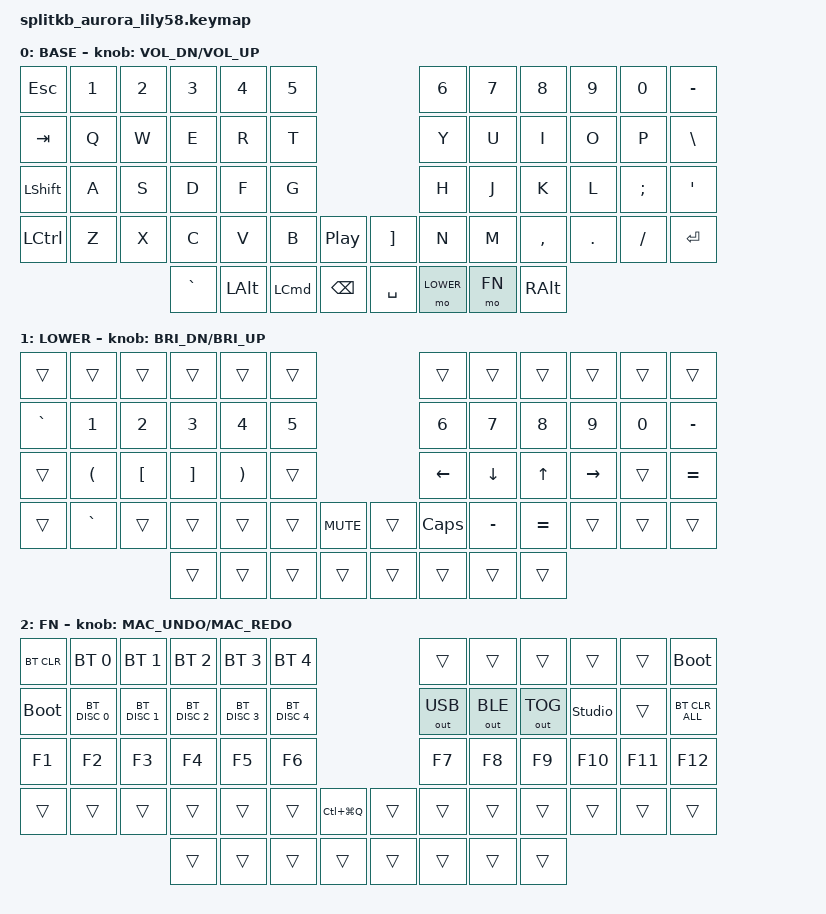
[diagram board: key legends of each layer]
/*
 * besimboard — splitkb Aurora Lily58, ZMK.
 * Layout follows zmk-config-lily58-pro, with vim arrows and the encoder added.
 *
 * SPDX-License-Identifier: MIT
 */

#include <behaviors.dtsi>
#include <dt-bindings/zmk/keys.h>
#include <dt-bindings/zmk/bt.h>
#include <dt-bindings/zmk/outputs.h>

#define BASE  0
#define LOWER 1
#define FN    2

/* macOS shortcuts */
#define MAC_LOCK LC(LG(Q))
#define MAC_UNDO LG(Z)
#define MAC_REDO LG(LS(Z))

/*
 * Encoder.
 *
 * The shield defines the EC11 with steps = <80> and 20 triggers per rotation,
 * i.e. exactly one trigger per detent. If a click ever moves two steps (or none),
 * tune it here, e.g. `&sensors { triggers-per-rotation = <10>; };`.
 *
 * `enc_kp` is `&inc_dec_kp` with a longer tap (10 ms instead of 5): a fast spin
 * then offers at most ~200 HID reports/s, which Bluetooth can carry, so the
 * report queue no longer overflows and drops releases (which is what made the
 * Mac's volume jump).
 *
 * Direction: on this build the FIRST binding fires for counter-clockwise and the
 * SECOND for clockwise. If your encoder turns the other way, swap both.
 */
/ {
    behaviors {
        enc_kp: encoder_key_press {
            compatible = "zmk,behavior-sensor-rotate-var";
            #sensor-binding-cells = <2>;
            bindings = <&kp>, <&kp>;
            tap-ms = <10>;
        };
    };

    keymap {
        compatible = "zmk,keymap";

        base_layer {
            display-name = "BASE";
            // ------------------------------------------------------------------------------------------------------------
            // |  ESC   |  1  |  2  |  3   |  4   |  5   |                    |  6   |  7    |  8    |  9   |   0   |   -   |
            // |  TAB   |  Q  |  W  |  E   |  R   |  T   |                    |  Y   |  U    |  I    |  O   |   P   |   \   |
            // | SHIFT  |  A  |  S  |  D   |  F   |  G   |                    |  H   |  J    |  K    |  L   |   ;   |   '   |
            // | CTRL   |  Z  |  X  |  C   |  V   |  B   | ENC:PLAY |  |  ]  |  N   |  M    |  ,    |  .   |   /   | ENTER |
            //                     |  `   | ALT  | CMD  |  BSPC    |  | SPC | LOWER|  FN   | RALT  |
            bindings = <
&kp ESC         &kp N1  &kp N2  &kp N3     &kp N4    &kp N5                                            &kp N6  &kp N7  &kp N8         &kp N9   &kp N0    &kp MINUS
&kp TAB         &kp Q   &kp W   &kp E      &kp R     &kp T                                             &kp Y   &kp U   &kp I          &kp O    &kp P     &kp BACKSLASH
&kp LEFT_SHIFT  &kp A   &kp S   &kp D      &kp F     &kp G                                             &kp H   &kp J   &kp K          &kp L    &kp SEMI  &kp SQT
&kp LCTRL       &kp Z   &kp X   &kp C      &kp V     &kp B             &kp C_PLAY_PAUSE  &kp RBKT      &kp N   &kp M   &kp COMMA      &kp DOT  &kp FSLH  &kp ENTER
                                &kp GRAVE  &kp LALT  &kp LEFT_COMMAND  &kp BACKSPACE     &kp SPACE     &mo LOWER   &mo FN   &kp RIGHT_ALT
            >;

            // encoder: volume, press: play/pause
            sensor-bindings = <&enc_kp C_VOL_DN C_VOL_UP>;
        };

        lower_layer {
            display-name = "LOWER";
            // ------------------------------------------------------------------------------------------------------------
            // |        |     |     |      |      |      |                    |      |       |       |      |       |       |
            // |   `    |  1  |  2  |  3   |  4   |  5   |                    |  6   |  7    |  8    |  9   |   0   |   -   |
            // |        |  (  |  [  |  ]   |  )   |      |                    |  <-  |   v   |   ^   |  ->  |       |   =   |
            // |        |  `  |     |      |      |      | ENC:MUTE |  |     | CAPS |   -   |   =   |      |       |       |
            //                     |      |      |      |          |  |     |      |       |       |
            bindings = <
&trans     &trans     &trans    &trans    &trans    &trans                          &trans        &trans     &trans          &trans        &trans     &trans
&kp GRAVE  &kp N1     &kp N2    &kp N3    &kp N4    &kp N5                          &kp N6        &kp N7     &kp N8          &kp N9        &kp N0     &kp MINUS
&trans     &kp LPAR   &kp LBKT  &kp RBKT  &kp RPAR  &trans                          &kp LEFT      &kp DOWN   &kp UP          &kp RIGHT     &trans     &kp EQUAL
&trans     &kp GRAVE  &trans    &trans    &trans    &trans  &kp C_MUTE     &trans   &kp CAPSLOCK  &kp MINUS  &kp EQUAL       &trans        &trans     &trans
                                &trans    &trans    &trans  &trans         &trans   &trans        &trans     &trans
            >;

            // encoder: screen brightness, press: mute
            sensor-bindings = <&enc_kp C_BRI_DN C_BRI_UP>;
        };

        fn_layer {
            display-name = "FN";
            // ------------------------------------------------------------------------------------------------------------
            // | BT CLR | BT1 | BT2 | BT3  | BT4  | BT5  |                    |      |       |       |      |       | BOOT  |
            // | BOOT   | DC1 | DC2 | DC3  | DC4  | DC5  |                    | USB  |  BLE  |  TOG  |UNLOCK|       |CLR ALL|
            // |  F1    | F2  | F3  |  F4  |  F5  |  F6  |                    |  F7  |  F8   |  F9   | F10  |  F11  |  F12  |
            // |        |     |     |      |      |      | ENC:LOCK |  |     |      |       |       |      |       |       |
            //                     |      |      |      |          |  |     |      |       |       |
            //
            // BT1-5 select a Bluetooth profile, DC1-5 disconnect one, BT CLR forgets the
            // pairing of the current profile, CLR ALL forgets all of them. BOOT puts that
            // half into the bootloader (left: TAB key, right: MINUS key). UNLOCK opens
            // the keyboard for ZMK Studio (zmk.studio, over USB or Bluetooth, left half).
            bindings = <
&bt BT_CLR   &bt BT_SEL 0   &bt BT_SEL 1   &bt BT_SEL 2   &bt BT_SEL 3   &bt BT_SEL 4                          &trans        &trans        &trans        &trans          &trans   &bootloader
&bootloader  &bt BT_DISC 0  &bt BT_DISC 1  &bt BT_DISC 2  &bt BT_DISC 3  &bt BT_DISC 4                         &out OUT_USB  &out OUT_BLE  &out OUT_TOG  &studio_unlock  &trans   &bt BT_CLR_ALL
&kp F1       &kp F2         &kp F3         &kp F4         &kp F5         &kp F6                                &kp F7        &kp F8        &kp F9        &kp F10         &kp F11  &kp F12
&trans       &trans         &trans         &trans         &trans         &trans   &kp MAC_LOCK     &trans      &trans        &trans        &trans        &trans          &trans   &trans
                                           &trans         &trans         &trans   &trans           &trans      &trans        &trans        &trans
            >;

            // encoder: undo / redo, press: lock the Mac
            sensor-bindings = <&enc_kp MAC_UNDO MAC_REDO>;
        };
    };
};
